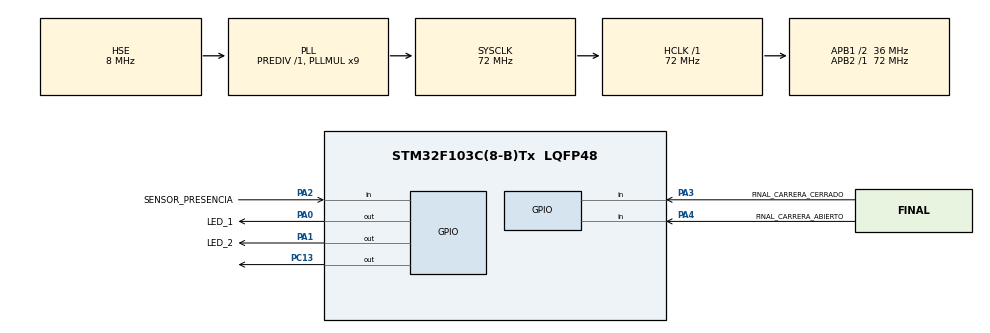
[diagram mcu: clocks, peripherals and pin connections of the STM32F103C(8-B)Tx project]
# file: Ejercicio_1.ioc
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Mcu.Family=STM32F1
Mcu.Name=STM32F103C(8-B)Tx
Mcu.Package=LQFP48
NVIC.PriorityGroup=NVIC_PRIORITYGROUP_4
NVIC.TIM2_IRQn=true\:0\:0\:false\:false\:true\:true\:true\:true
PA0-WKUP.GPIO_Label=LED_1
PA0-WKUP.GPIO_ModeDefaultOutputPP=GPIO_MODE_OUTPUT_PP
PA0-WKUP.GPIO_PuPd=GPIO_NOPULL
PA0-WKUP.Signal=GPIO_Output
PA1.GPIO_Label=LED_2
PA1.GPIO_ModeDefaultOutputPP=GPIO_MODE_OUTPUT_PP
PA1.GPIO_PuPd=GPIO_NOPULL
PA1.Signal=GPIO_Output
PA13.Mode=Serial_Wire
PA13.Signal=SYS_JTMS-SWDIO
PA14.Mode=Serial_Wire
PA14.Signal=SYS_JTCK-SWCLK
PA2.GPIO_Label=SENSOR_PRESENCIA
PA2.Signal=GPIO_Input
PA3.GPIO_Label=FINAL_CARRERA_CERRADO
PA3.Signal=GPIO_Input
PA4.GPIO_Label=FINAL_CARRERA_ABIERTO
PA4.Signal=GPIO_Input
PC13-TAMPER-RTC.Signal=GPIO_Output
PD0-OSC_IN.Mode=HSE-External-Oscillator
PD0-OSC_IN.Signal=RCC_OSC_IN
PD1-OSC_OUT.Mode=HSE-External-Oscillator
PD1-OSC_OUT.Signal=RCC_OSC_OUT
ProjectManager.HeapSize=0x200
ProjectManager.StackSize=0x400
ProjectManager.TargetToolchain=STM32CubeIDE
RCC.AHBFreq_Value=72000000
RCC.APB1CLKDivider=RCC_HCLK_DIV2
RCC.APB1Freq_Value=36000000
RCC.APB1TimFreq_Value=72000000
RCC.APB2Freq_Value=72000000
RCC.APB2TimFreq_Value=72000000
RCC.HCLKFreq_Value=72000000
RCC.PLLMUL=RCC_PLL_MUL9
RCC.PLLSourceVirtual=RCC_PLLSOURCE_HSE
RCC.SYSCLKFreq_VALUE=72000000
RCC.SYSCLKSource=RCC_SYSCLKSOURCE_PLLCLK
RCC.USBFreq_Value=72000000
TIM2.AutoReloadPreload=TIM_AUTORELOAD_PRELOAD_ENABLE
TIM2.Period=10000
TIM2.Prescaler=7200-1
VP_TIM2_VS_ClockSourceINT.Mode=Internal
board=custom

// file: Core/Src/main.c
/* USER CODE BEGIN Header */
/**
  ******************************************************************************
  * @file           : main.c
  * @brief          : Main program body
  ******************************************************************************
  * @attention
  *
  * Copyright (c) 2024 STMicroelectronics.
  * All rights reserved.
  *
  * This software is licensed under terms that can be found in the LICENSE file
  * in the root directory of this software component.
  * If no LICENSE file comes with this software, it is provided AS-IS.
  *
  ******************************************************************************
  */
/* USER CODE END Header */
#include "main.h"
#include "tim.h"
#include "gpio.h"

/* USER CODE BEGIN PTD */
typedef enum PUERTA_ESTADO {
	PUERTA_CERRADA,
	ABRIENDO_PUERTA,
	PUERTA_ABIERTA,
	CERRANDO_PUERTA
} puerta_estado_t;
/* USER CODE END PTD */

/* USER CODE BEGIN PV */
uint8_t TIEMPO_SIN_PRESENCIA = 3;
uint8_t tim_count = 0;
puerta_estado_t estadoActual = PUERTA_CERRADA;
/* USER CODE END PV */

void SystemClock_Config(void);

int main(void)
{

  /* MCU Configuration--------------------------------------------------------*/

  /* Reset of all peripherals, Initializes the Flash interface and the Systick. */
  HAL_Init();

  /* Configure the system clock */
  SystemClock_Config();

  /* Initialize all configured peripherals */
  MX_GPIO_Init();
  MX_TIM2_Init();
  /* USER CODE BEGIN 2 */
  HAL_TIM_Base_Start_IT(&htim2);
  /* USER CODE END 2 */

  /* Infinite loop */
  /* USER CODE BEGIN WHILE */
  while (1)
  {
	  switch (estadoActual)
	 	  {
	 	  case PUERTA_CERRADA://INICIAMOS EL PUERTA CERRADA
	 		  HAL_GPIO_WritePin(GPIOA, LED_1_Pin, GPIO_PIN_RESET);// puerta cerrada
	 		  HAL_GPIO_WritePin(GPIOA, LED_2_Pin, GPIO_PIN_RESET);// motor apagado
	 		  if (HAL_GPIO_ReadPin(GPIOA, SENSOR_PRESENCIA_Pin) == 1)//SENSOR = 1
	 		  {
	 			  estadoActual = ABRIENDO_PUERTA;
	 		  }
	 		  break;

	 	  case ABRIENDO_PUERTA:
	 		  HAL_GPIO_WritePin(GPIOA, LED_1_Pin, GPIO_PIN_SET); // abriendo puerta
	 		  HAL_GPIO_WritePin(GPIOA, LED_2_Pin, GPIO_PIN_SET); // motor encendido
	 		  if (HAL_GPIO_ReadPin(GPIOA, FINAL_CARRERA_ABIERTO_Pin) == 1)
	 		  {
	 			  estadoActual = PUERTA_ABIERTA;
	 		  }
	 		  break;

	 	  case PUERTA_ABIERTA:
	 		  HAL_GPIO_WritePin(GPIOA, LED_1_Pin, GPIO_PIN_SET); // abriendo puerta
	 		  HAL_GPIO_WritePin(GPIOA, LED_2_Pin, GPIO_PIN_RESET); // motor apagado
	 		  // cuenta es mayor a 3 segundos y no se detecta presencia
	 		  if (tim_count > TIEMPO_SIN_PRESENCIA && HAL_GPIO_ReadPin(GPIOA, SENSOR_PRESENCIA_Pin) == 0)
	 		  {
				  tim_count = 0;
	 			  estadoActual = CERRANDO_PUERTA;
	 		  }
	 		 // cuenta es menor a 3 segundos y se detecta presencia
	 		  else if (tim_count <= TIEMPO_SIN_PRESENCIA && HAL_GPIO_ReadPin(GPIOA, SENSOR_PRESENCIA_Pin) == 1)
	 		  {
				  tim_count = 0;
	 			  estadoActual = PUERTA_ABIERTA;
	 		  }
	 		  break;

	 	  case CERRANDO_PUERTA:
	 		  HAL_GPIO_WritePin(GPIOA, LED_1_Pin, GPIO_PIN_RESET); // cerrando puerta
	 		  HAL_GPIO_WritePin(GPIOA, LED_2_Pin, GPIO_PIN_SET); // motor encendido
	 		  if (HAL_GPIO_ReadPin(GPIOA, SENSOR_PRESENCIA_Pin) == 1)//SENSOR = 1
	 		  {
	 			  estadoActual = ABRIENDO_PUERTA;
	 		  }
	 		  else if (HAL_GPIO_ReadPin(GPIOA, FINAL_CARRERA_CERRADO_Pin) == 1)
	 		  {
	 			  estadoActual = PUERTA_CERRADA;
	 		  }
	 		  break;
	 	  }
    /* USER CODE END WHILE */

  }
}

void SystemClock_Config(void)
{
  RCC_OscInitTypeDef RCC_OscInitStruct = {0};
  RCC_ClkInitTypeDef RCC_ClkInitStruct = {0};

  /** Initializes the RCC Oscillators according to the specified parameters
  * in the RCC_OscInitTypeDef structure.
  */
  RCC_OscInitStruct.OscillatorType = RCC_OSCILLATORTYPE_HSE;
  RCC_OscInitStruct.HSEState = RCC_HSE_ON;
  RCC_OscInitStruct.HSEPredivValue = RCC_HSE_PREDIV_DIV1;
  RCC_OscInitStruct.HSIState = RCC_HSI_ON;
  RCC_OscInitStruct.PLL.PLLState = RCC_PLL_ON;
  RCC_OscInitStruct.PLL.PLLSource = RCC_PLLSOURCE_HSE;
  RCC_OscInitStruct.PLL.PLLMUL = RCC_PLL_MUL9;
  if (HAL_RCC_OscConfig(&RCC_OscInitStruct) != HAL_OK)
  {
    Error_Handler();
  }

  /** Initializes the CPU, AHB and APB buses clocks
  */
  RCC_ClkInitStruct.ClockType = RCC_CLOCKTYPE_HCLK|RCC_CLOCKTYPE_SYSCLK
                              |RCC_CLOCKTYPE_PCLK1|RCC_CLOCKTYPE_PCLK2;
  RCC_ClkInitStruct.SYSCLKSource = RCC_SYSCLKSOURCE_PLLCLK;
  RCC_ClkInitStruct.AHBCLKDivider = RCC_SYSCLK_DIV1;
  RCC_ClkInitStruct.APB1CLKDivider = RCC_HCLK_DIV2;
  RCC_ClkInitStruct.APB2CLKDivider = RCC_HCLK_DIV1;

  if (HAL_RCC_ClockConfig(&RCC_ClkInitStruct, FLASH_LATENCY_2) != HAL_OK)
  {
    Error_Handler();
  }
}

/* USER CODE BEGIN 4 */
void HAL_TIM_PeriodElapsedCallback(TIM_HandleTypeDef *htim)
{
  if(htim->Instance == TIM2)
  {
	  if(estadoActual == PUERTA_ABIERTA)
	  {
		  tim_count ++;// incrementamos cada 1 segundo el tim_count
	  }
  }
}

/* USER CODE END 4 */

void Error_Handler(void)
{
  __disable_irq();
  while (1)
  {
  }
}
